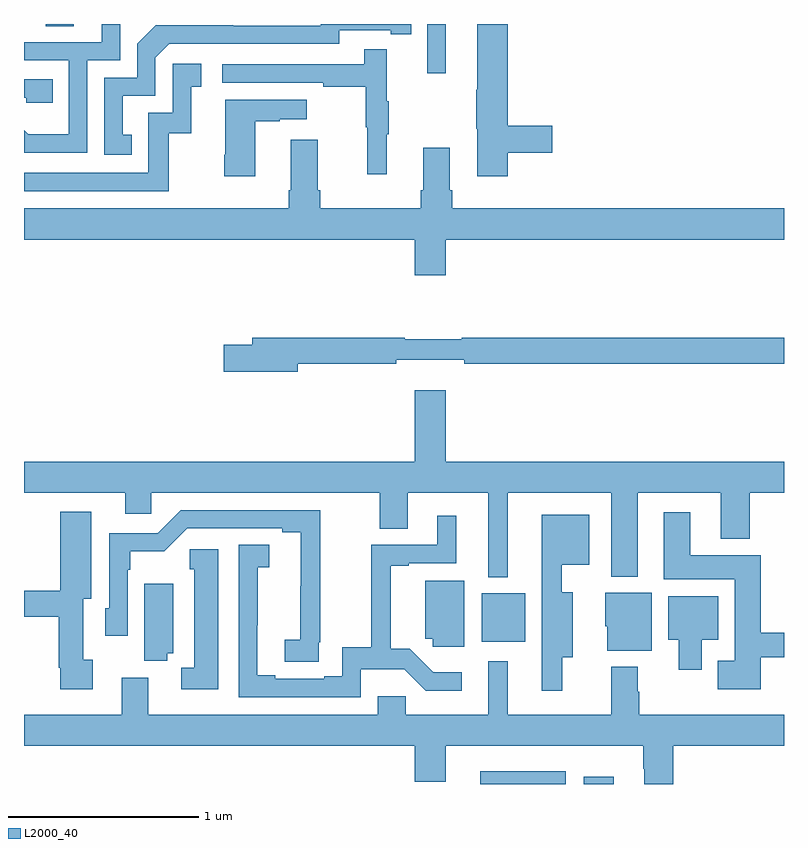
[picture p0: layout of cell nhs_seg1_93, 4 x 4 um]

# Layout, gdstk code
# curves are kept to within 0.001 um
import gdstk
lib = gdstk.Library(unit=1e-6, precision=1e-09)
def R(c, l, rs):  # rectangles x0, y0, x1, y1
    for r in rs: c.add(gdstk.rectangle(r[:2], r[2:], *l))
def P(c, l, *ps):  # polygons
    for p in ps: c.add(gdstk.Polygon(p, *l))
L2000_40 = (2000, 40)

nhs_seg1_93 = lib.new_cell('nhs_seg1_93')
R(nhs_seg1_93, L2000_40, [(117.402,550.199,117.85,550.267), (117.947,550.199,118.105,550.237), (117.41,550.949,117.637,551.203), (117.123,553.941,117.22,554.199), (115.114,554.188,115.261,554.199)])
P(nhs_seg1_93, L2000_40, [(115.332,554.007),(115.506,554.007),(115.506,554.199),(115.409,554.199),(115.409,554.103),(115,554.103),(115,554.007),(115.236,554.007),(115.236,553.618),(115.022,553.618),(115,553.64),(115,553.521),(115.332,553.521)],
  [(115.568,553.617),(115.519,553.617),(115.519,553.821),(115.692,553.821),(115.692,554.022),(115.764,554.094),(116.658,554.094),(116.658,554.166),(116.93,554.166),(116.93,554.146),(117.038,554.146),(117.038,554.199),(116.562,554.199),(116.562,554.19),(116.102,554.19),(116.102,554.192),(115.694,554.192),(115.596,554.094),(115.596,553.917),(115.422,553.917),(115.422,553.512),(115.568,553.512)],
  [(117.545,553.522),(117.781,553.522),(117.781,553.664),(117.545,553.664),(117.545,554.199),(117.386,554.199),(117.386,553.853),(117.379,553.853),(117.379,553.647),(117.386,553.647),(117.386,553.398),(117.545,553.398)],
  [(116.909,553.619),(116.92,553.619),(116.92,553.793),(116.909,553.793),(116.909,554.065),(116.791,554.065),(116.791,553.986),(116.043,553.986),(116.043,553.89),(116.575,553.89),(116.575,553.87),(116.799,553.87),(116.799,553.656),(116.806,553.656),(116.806,553.407),(116.909,553.407)],
  [(115.762,553.623),(115.88,553.623),(115.88,553.869),(115.933,553.869),(115.933,553.99),(115.782,553.99),(115.782,553.731),(115.653,553.731),(115.653,553.416),(115,553.416),(115,553.32),(115.762,553.32)],
  [(115.151,553.908),(115,553.908),(115,553.812),(115.011,553.812),(115.011,553.785),(115.151,553.785)],
  [(116.218,553.687),(116.345,553.687),(116.345,553.697),(116.488,553.697),(116.488,553.801),(116.06,553.801),(116.06,553.51),(116.053,553.51),(116.053,553.398),(116.218,553.398)],
  [(117.22,553.064),(119,553.064),(119,553.228),(117.254,553.228),(117.254,553.324),(117.241,553.324),(117.241,553.549),(117.101,553.549),(117.101,553.324),(117.089,553.324),(117.089,553.228),(116.558,553.228),(116.558,553.324),(116.545,553.324),(116.545,553.591),(116.405,553.591),(116.405,553.324),(116.393,553.324),(116.393,553.228),(115,553.228),(115,553.064),(117.056,553.064),(117.056,552.876),(117.22,552.876)],
  [(116.44,552.412),(116.96,552.412),(116.96,552.431),(117.316,552.431),(117.316,552.412),(119,552.412),(119,552.548),(117.305,552.548),(117.305,552.541),(117.005,552.541),(117.005,552.548),(116.201,552.548),(116.201,552.512),(116.052,552.512),(116.052,552.37),(116.44,552.37)],
  [(117.547,551.732),(118.091,551.732),(118.091,551.291),(118.231,551.291),(118.231,551.732),(118.667,551.732),(118.667,551.489),(118.82,551.489),(118.82,551.732),(119,551.732),(119,551.896),(117.22,551.896),(117.22,552.271),(117.056,552.271),(117.056,551.896),(115,551.896),(115,551.732),(115.532,551.732),(115.532,551.622),(115.671,551.622),(115.671,551.732),(116.872,551.732),(116.872,551.542),(117.019,551.542),(117.019,551.732),(117.443,551.732),(117.443,551.288),(117.547,551.288)],
  [(116.552,550.945),(116.558,550.945),(116.558,551.64),(115.824,551.64),(115.704,551.52),(115.449,551.52),(115.449,551.124),(115.428,551.124),(115.428,550.98),(115.545,550.98),(115.545,551.327),(115.558,551.327),(115.558,551.423),(115.739,551.423),(115.86,551.544),(116.36,551.544),(116.36,551.524),(116.456,551.524),(116.455,550.958),(116.373,550.958),(116.373,550.843),(116.552,550.843)],
  [(115.363,550.854),(115.312,550.854),(115.312,551.174),(115.354,551.174),(115.354,551.632),(115.19,551.632),(115.19,551.216),(115,551.216),(115,551.08),(115.183,551.08),(115.183,550.81),(115.19,550.81),(115.19,550.698),(115.363,550.698)],
  [(118.877,550.866),(119,550.866),(119,550.994),(118.877,550.994),(118.877,551.404),(118.507,551.404),(118.507,551.629),(118.367,551.629),(118.367,551.276),(118.742,551.276),(118.742,550.849),(118.652,550.849),(118.652,550.697),(118.877,550.697)],
  [(117.832,550.865),(117.889,550.865),(117.889,551.209),(117.829,551.209),(117.829,551.354),(117.976,551.354),(117.976,551.617),(117.725,551.617),(117.725,550.689),(117.832,550.689)],
  [(116.772,550.802),(117.001,550.802),(117.114,550.689),(117.304,550.689),(117.304,550.786),(117.155,550.786),(117.029,550.912),(116.93,550.912),(116.93,551.349),(117.025,551.349),(117.025,551.361),(117.274,551.361),(117.274,551.611),(117.176,551.611),(117.176,551.457),(116.827,551.457),(116.827,550.919),(116.676,550.919),(116.676,550.766),(116.579,550.766),(116.579,550.752),(116.323,550.752),(116.323,550.772),(116.227,550.772),(116.227,551.035),(116.229,551.035),(116.229,551.339),(116.29,551.339),(116.29,551.459),(116.13,551.459),(116.13,550.656),(116.772,550.656)],
  [(116.023,551.434),(115.873,551.434),(115.873,551.328),(115.895,551.328),(115.895,550.812),(115.827,550.812),(115.827,550.697),(116.023,550.697)],
  [(117.316,551.269),(117.113,551.269),(117.113,550.964),(117.15,550.964),(117.15,550.922),(117.316,550.922)],
  [(115.754,550.886),(115.786,550.886),(115.786,551.254),(115.634,551.254),(115.634,550.849),(115.754,550.849)],
  [(118.303,551.206),(118.058,551.206),(118.058,551.028),(118.07,551.028),(118.07,550.901),(118.303,550.901)],
  [(118.567,550.958),(118.654,550.958),(118.654,551.188),(118.391,551.188),(118.391,550.958),(118.445,550.958),(118.445,550.8),(118.567,550.8)],
  [(118.418,550.4),(119,550.4),(119,550.564),(118.239,550.564),(118.239,550.685),(118.231,550.685),(118.231,550.816),(118.091,550.816),(118.091,550.564),(117.547,550.564),(117.547,550.846),(117.443,550.846),(117.443,550.564),(117.008,550.564),(117.008,550.662),(116.861,550.662),(116.861,550.564),(115.654,550.564),(115.654,550.759),(115.514,550.759),(115.514,550.564),(115,550.564),(115,550.4),(117.056,550.4),(117.056,550.212),(117.22,550.212),(117.22,550.4),(118.258,550.4),(118.258,550.28),(118.265,550.28),(118.265,550.199),(118.418,550.199)])

lib.write_gds('nhs_seg1_93.gds')
